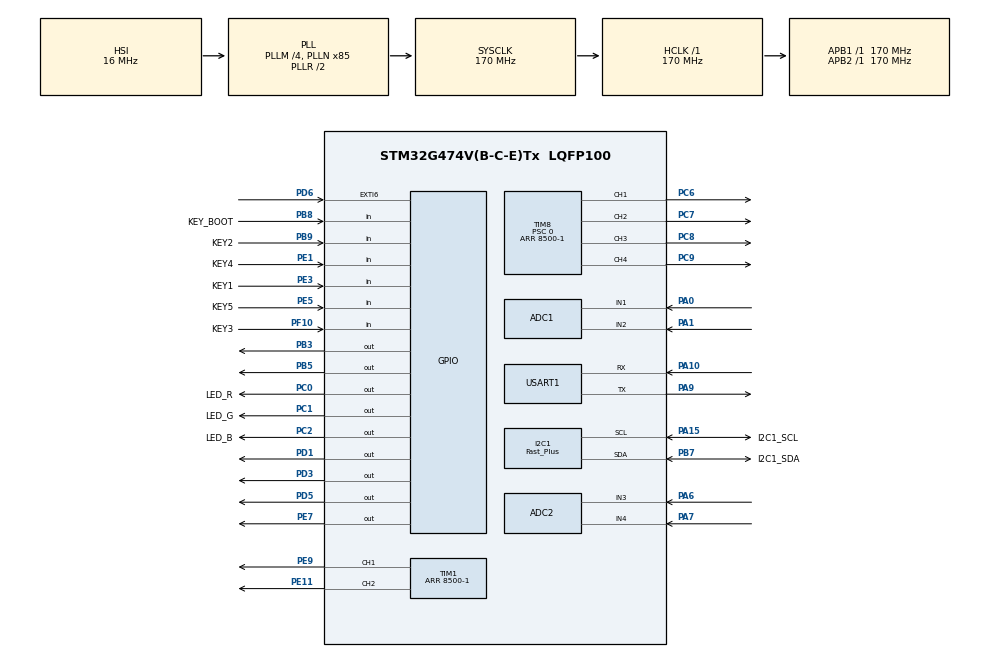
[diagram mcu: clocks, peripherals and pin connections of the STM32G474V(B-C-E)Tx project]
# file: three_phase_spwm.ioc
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ADC1.Channel-4\#ChannelRegularConversion=ADC_CHANNEL_1
ADC1.Channel-6\#ChannelRegularConversion=ADC_CHANNEL_2
ADC1.DMAContinuousRequests=ENABLE
ADC1.EnableRegularConversion=ENABLE
ADC1.ExternalTrigConv=ADC_EXTERNALTRIG_T8_TRGO
ADC1.NbrOfConversion=2
ADC1.NbrOfConversionFlag=1
ADC1.OffsetNumber-4\#ChannelRegularConversion=ADC_OFFSET_NONE
ADC1.OffsetNumber-6\#ChannelRegularConversion=ADC_OFFSET_NONE
ADC1.Rank-4\#ChannelRegularConversion=1
ADC1.Rank-6\#ChannelRegularConversion=2
ADC1.SamplingTime-4\#ChannelRegularConversion=ADC_SAMPLETIME_12CYCLES_5
ADC1.SamplingTime-6\#ChannelRegularConversion=ADC_SAMPLETIME_12CYCLES_5
ADC1.master=1
ADC2.Channel-0\#ChannelRegularConversion=ADC_CHANNEL_3
ADC2.Channel-1\#ChannelRegularConversion=ADC_CHANNEL_4
ADC2.ContinuousConvMode=DISABLE
ADC2.DMAContinuousRequests=ENABLE
ADC2.ExternalTrigConv=ADC_EXTERNALTRIG_T8_TRGO
ADC2.NbrOfConversion=2
ADC2.NbrOfConversionFlag=1
ADC2.OffsetNumber-0\#ChannelRegularConversion=ADC_OFFSET_NONE
ADC2.OffsetNumber-1\#ChannelRegularConversion=ADC_OFFSET_NONE
ADC2.Rank-0\#ChannelRegularConversion=1
ADC2.Rank-1\#ChannelRegularConversion=2
ADC2.SamplingTime-0\#ChannelRegularConversion=ADC_SAMPLETIME_12CYCLES_5
ADC2.SamplingTime-1\#ChannelRegularConversion=ADC_SAMPLETIME_12CYCLES_5
Dma.ADC1.1.Direction=DMA_PERIPH_TO_MEMORY
Dma.ADC1.1.EventEnable=DISABLE
Dma.ADC1.1.Instance=DMA1_Channel1
Dma.ADC1.1.MemDataAlignment=DMA_MDATAALIGN_HALFWORD
Dma.ADC1.1.MemInc=DMA_MINC_ENABLE
Dma.ADC1.1.Mode=DMA_CIRCULAR
Dma.ADC1.1.PeriphDataAlignment=DMA_PDATAALIGN_HALFWORD
Dma.ADC1.1.PeriphInc=DMA_PINC_DISABLE
Dma.ADC1.1.Polarity=HAL_DMAMUX_REQ_GEN_RISING
Dma.ADC1.1.Priority=DMA_PRIORITY_LOW
Dma.ADC1.1.RequestNumber=1
Dma.ADC1.1.SignalID=NONE
Dma.ADC1.1.SyncEnable=DISABLE
Dma.ADC1.1.SyncPolarity=HAL_DMAMUX_SYNC_NO_EVENT
Dma.ADC1.1.SyncRequestNumber=1
Dma.ADC1.1.SyncSignalID=NONE
Dma.ADC2.0.Direction=DMA_PERIPH_TO_MEMORY
Dma.ADC2.0.EventEnable=DISABLE
Dma.ADC2.0.Instance=DMA1_Channel2
Dma.ADC2.0.MemDataAlignment=DMA_MDATAALIGN_HALFWORD
Dma.ADC2.0.MemInc=DMA_MINC_ENABLE
Dma.ADC2.0.Mode=DMA_CIRCULAR
Dma.ADC2.0.PeriphDataAlignment=DMA_PDATAALIGN_HALFWORD
Dma.ADC2.0.PeriphInc=DMA_PINC_DISABLE
Dma.ADC2.0.Polarity=HAL_DMAMUX_REQ_GEN_RISING
Dma.ADC2.0.Priority=DMA_PRIORITY_LOW
Dma.ADC2.0.RequestNumber=1
Dma.ADC2.0.SignalID=NONE
Dma.ADC2.0.SyncEnable=DISABLE
Dma.ADC2.0.SyncPolarity=HAL_DMAMUX_SYNC_NO_EVENT
Dma.ADC2.0.SyncRequestNumber=1
Dma.ADC2.0.SyncSignalID=NONE
Dma.Request0=ADC2
Dma.Request1=ADC1
I2C1.I2C_Speed_Mode=I2C_Fast_Plus
I2C1.Timing=0x4052060F
Mcu.Family=STM32G4
Mcu.Name=STM32G474V(B-C-E)Tx
Mcu.Package=LQFP100
NVIC.DMA1_Channel1_IRQn=true\:0\:0\:false\:false\:true\:false\:true\:true
NVIC.DMA1_Channel2_IRQn=true\:0\:0\:false\:false\:true\:false\:true\:true
NVIC.PriorityGroup=NVIC_PRIORITYGROUP_4
PA0.Mode=IN1-Single-Ended
PA0.Signal=ADC1_IN1
PA1.Mode=IN2-Single-Ended
PA1.Signal=ADC1_IN2
PA10.Mode=Asynchronous
PA10.Signal=USART1_RX
PA13.Mode=Serial_Wire
PA13.Signal=SYS_JTMS-SWDIO
PA14.Mode=Serial_Wire
PA14.Signal=SYS_JTCK-SWCLK
PA15.GPIO_Label=I2C1_SCL
PA15.Mode=I2C
PA15.Signal=I2C1_SCL
PA2.Signal=ADC1_IN3
PA3.Signal=ADC1_IN4
PA6.Mode=IN3-Single-Ended
PA6.Signal=ADC2_IN3
PA7.Mode=IN4-Single-Ended
PA7.Signal=ADC2_IN4
PA9.Mode=Asynchronous
PA9.Signal=USART1_TX
PB1.Signal=ADC3_IN1
PB3.Signal=GPIO_Output
PB5.Signal=GPIO_Output
PB7.GPIO_Label=I2C1_SDA
PB7.Mode=I2C
PB7.Signal=I2C1_SDA
PB8-BOOT0.GPIO_Label=KEY_BOOT
PB8-BOOT0.GPIO_PuPd=GPIO_PULLDOWN
PB8-BOOT0.Signal=GPIO_Input
PB9.GPIO_Label=KEY2
PB9.GPIO_PuPd=GPIO_PULLUP
PB9.Signal=GPIO_Input
PC0.GPIO_Label=LED_R
PC0.Signal=GPIO_Output
PC1.GPIO_Label=LED_G
PC1.Signal=GPIO_Output
PC14-OSC32_IN.Mode=LSE-External-Oscillator
PC14-OSC32_IN.Signal=RCC_OSC32_IN
PC15-OSC32_OUT.Mode=LSE-External-Oscillator
PC15-OSC32_OUT.Signal=RCC_OSC32_OUT
PC2.GPIO_Label=LED_B
PC2.Signal=GPIO_Output
PC6.Signal=S_TIM8_CH1
PC7.Signal=S_TIM8_CH2
PC8.Signal=S_TIM8_CH3
PC9.Signal=S_TIM8_CH4
PD1.Signal=GPIO_Output
PD3.Signal=GPIO_Output
PD5.Signal=GPIO_Output
PD6.Signal=GPXTI6
PE1.GPIO_Label=KEY4
PE1.GPIO_PuPd=GPIO_PULLUP
PE1.Signal=GPIO_Input
PE11.Signal=S_TIM1_CH2
PE3.GPIO_Label=KEY1
PE3.GPIO_PuPd=GPIO_PULLUP
PE3.Signal=GPIO_Input
PE5.GPIO_Label=KEY5
PE5.GPIO_PuPd=GPIO_PULLUP
PE5.Signal=GPIO_Input
PE7.GPIO_ModeDefaultOutputPP=GPIO_MODE_OUTPUT_OD
PE7.GPIO_PuPd=GPIO_PULLUP
PE7.PinState=GPIO_PIN_SET
PE7.Signal=GPIO_Output
PE9.Signal=S_TIM1_CH1
PF0-OSC_IN.Mode=HSE-External-Oscillator
PF0-OSC_IN.Signal=RCC_OSC_IN
PF1-OSC_OUT.Mode=HSE-External-Oscillator
PF1-OSC_OUT.Signal=RCC_OSC_OUT
PF10.GPIO_Label=KEY3
PF10.GPIO_PuPd=GPIO_PULLUP
PF10.Signal=GPIO_Input
ProjectManager.HeapSize=0x200
ProjectManager.StackSize=0x400
ProjectManager.TargetToolchain=CMake
RCC.ADC12Freq_Value=170000000
RCC.ADC345Freq_Value=170000000
RCC.AHBFreq_Value=170000000
RCC.APB1Freq_Value=170000000
RCC.APB1TimFreq_Value=170000000
RCC.APB2Freq_Value=170000000
RCC.APB2TimFreq_Value=170000000
RCC.CortexFreq_Value=170000000
RCC.EXTERNAL_CLOCK_VALUE=12288000
RCC.HCLKFreq_Value=170000000
RCC.HSE_VALUE=8000000
RCC.HSI48_VALUE=48000000
RCC.HSI_VALUE=16000000
RCC.PLLM=RCC_PLLM_DIV4
RCC.PLLN=85
RCC.PLLQ=RCC_PLLQ_DIV4
RCC.SYSCLKFreq_VALUE=170000000
RCC.SYSCLKSource=RCC_SYSCLKSOURCE_PLLCLK
RCC.USBFreq_Value=85000000
RCC.VCOOutputFreq_Value=340000000
SH.S_TIM1_CH1.0=TIM1_CH1,PWM Generation1 CH1
SH.S_TIM1_CH2.0=TIM1_CH2,PWM Generation2 CH2
SH.S_TIM8_CH1.0=TIM8_CH1,PWM Generation1 CH1
SH.S_TIM8_CH2.0=TIM8_CH2,PWM Generation2 CH2
SH.S_TIM8_CH3.0=TIM8_CH3,PWM Generation3 CH3
SH.S_TIM8_CH4.0=TIM8_CH4,PWM Generation4 CH4
TIM1.AutoReloadPreload=TIM_AUTORELOAD_PRELOAD_DISABLE
TIM1.Channel-PWM\ Generation1\ CH1=TIM_CHANNEL_1
TIM1.Channel-PWM\ Generation2\ CH2=TIM_CHANNEL_2
TIM1.CounterMode=TIM_COUNTERMODE_CENTERALIGNED1
TIM1.PeriodNoDither=8500-1
TIM1.TIM_MasterSlaveMode=TIM_MASTERSLAVEMODE_ENABLE
TIM8.Channel-PWM\ Generation1\ CH1=TIM_CHANNEL_1
TIM8.Channel-PWM\ Generation2\ CH2=TIM_CHANNEL_2
TIM8.Channel-PWM\ Generation3\ CH3=TIM_CHANNEL_3
TIM8.Channel-PWM\ Generation4\ CH4=TIM_CHANNEL_4
TIM8.CounterMode=TIM_COUNTERMODE_CENTERALIGNED1
TIM8.PeriodNoDither=8500-1
TIM8.Prescaler=0
TIM8.RepetitionCounter=0
TIM8.TIM_MasterOutputTrigger=TIM_TRGO_UPDATE
TIM8.TIM_MasterOutputTrigger2=TIM_TRGO2_RESET
TIM8.TIM_MasterSlaveMode=TIM_MASTERSLAVEMODE_ENABLE
USART1.VirtualMode-Asynchronous=VM_ASYNC
VP_FMAC_VS_FMAC.Mode=FMAC_Activate
VP_SYS_VS_DBSignals.Mode=DisableDeadBatterySignals
VP_TIM1_VS_ClockSourceITR.Mode=TriggerSource_ITR8
VP_TIM1_VS_ControllerModeReset.Mode=Reset Mode
VP_TIM8_VS_ClockSourceINT.Mode=Internal
board=custom

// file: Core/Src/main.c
/* USER CODE BEGIN Header */
/**
  ******************************************************************************
  * @file           : main.c
  * @brief          : Main program body
  ******************************************************************************
  * @attention
  *
  * Copyright (c) 2025 STMicroelectronics.
  * All rights reserved.
  *
  * This software is licensed under terms that can be found in the LICENSE file
  * in the root directory of this software component.
  * If no LICENSE file comes with this software, it is provided AS-IS.
  *
  ******************************************************************************
  */
/* USER CODE END Header */
#include "main.h"
#include "adc.h"
#include "dma.h"
#include "fmac.h"
#include "i2c.h"
#include "tim.h"
#include "usart.h"
#include "gpio.h"

/* USER CODE BEGIN Includes */
#include "stdio.h"
#include "math.h"
#include "OLED.h"
#include <user_regulator.h>
/* USER CODE END Includes */

/* USER CODE BEGIN PD */
// 宏定义已移动到user_regulator模块
/* USER CODE END PD */

/* USER CODE BEGIN PV */
// ============================================================================
// ADC数据缓冲区 (供user_regulator模块使用)
// ============================================================================
uint16_t adc1_buf[2];                       // ADC1缓冲区: [IN1, IN2, IN3, IN4] (DMA长度=4)
uint16_t adc2_buf[2];                       // ADC2缓冲区: [IN3, IN4] (DMA长度=2)
/* USER CODE END PV */

void SystemClock_Config(void);
/* USER CODE BEGIN PFP */
// 所有应用层函数已移动到user_regulator模块
/* USER CODE END PFP */

int main(void)
{

  /* MCU Configuration--------------------------------------------------------*/

  /* Reset of all peripherals, Initializes the Flash interface and the Systick. */
  HAL_Init();

  /* Configure the system clock */
  SystemClock_Config();

  /* Initialize all configured peripherals */
  MX_GPIO_Init();
  MX_DMA_Init();
  MX_ADC1_Init();
  MX_ADC2_Init();
  MX_I2C1_Init();
  MX_TIM8_Init();
  MX_USART1_UART_Init();
  MX_FMAC_Init();
  MX_TIM1_Init();
  /* USER CODE BEGIN 2 */

  // 用户调节器模块初始化
  user_regulator_init();
  /* USER CODE END 2 */

  /* Infinite loop */
  /* USER CODE BEGIN WHILE */
  // ReSharper disable once CppDFAEndlessLoop
  while (1)
  {
    /* USER CODE END WHILE */

    /* USER CODE BEGIN 3 */
    // ======================================================================
    // 主循环 - 只调用用户调节器模块
    // ======================================================================
    user_regulator_main();
  }
  /* USER CODE END 3 */
}

void SystemClock_Config(void)
{
  RCC_OscInitTypeDef RCC_OscInitStruct = {0};
  RCC_ClkInitTypeDef RCC_ClkInitStruct = {0};

  /** Configure the main internal regulator output voltage
  */
  HAL_PWREx_ControlVoltageScaling(PWR_REGULATOR_VOLTAGE_SCALE1_BOOST);

  /** Initializes the RCC Oscillators according to the specified parameters
  * in the RCC_OscInitTypeDef structure.
  */
  RCC_OscInitStruct.OscillatorType = RCC_OSCILLATORTYPE_HSI;
  RCC_OscInitStruct.HSIState = RCC_HSI_ON;
  RCC_OscInitStruct.HSICalibrationValue = RCC_HSICALIBRATION_DEFAULT;
  RCC_OscInitStruct.PLL.PLLState = RCC_PLL_ON;
  RCC_OscInitStruct.PLL.PLLSource = RCC_PLLSOURCE_HSI;
  RCC_OscInitStruct.PLL.PLLM = RCC_PLLM_DIV4;
  RCC_OscInitStruct.PLL.PLLN = 85;
  RCC_OscInitStruct.PLL.PLLP = RCC_PLLP_DIV2;
  RCC_OscInitStruct.PLL.PLLQ = RCC_PLLQ_DIV4;
  RCC_OscInitStruct.PLL.PLLR = RCC_PLLR_DIV2;
  if (HAL_RCC_OscConfig(&RCC_OscInitStruct) != HAL_OK)
  {
    Error_Handler();
  }

  /** Initializes the CPU, AHB and APB buses clocks
  */
  RCC_ClkInitStruct.ClockType = RCC_CLOCKTYPE_HCLK|RCC_CLOCKTYPE_SYSCLK
                              |RCC_CLOCKTYPE_PCLK1|RCC_CLOCKTYPE_PCLK2;
  RCC_ClkInitStruct.SYSCLKSource = RCC_SYSCLKSOURCE_PLLCLK;
  RCC_ClkInitStruct.AHBCLKDivider = RCC_SYSCLK_DIV1;
  RCC_ClkInitStruct.APB1CLKDivider = RCC_HCLK_DIV1;
  RCC_ClkInitStruct.APB2CLKDivider = RCC_HCLK_DIV1;

  if (HAL_RCC_ClockConfig(&RCC_ClkInitStruct, FLASH_LATENCY_4) != HAL_OK)
  {
    Error_Handler();
  }
}

/* USER CODE BEGIN 4 */
/**
 * @brief TIM中断回调函数 - 已禁用TIM8中断，逻辑已迁移至ADC回调
 * @param htim: 定时器句柄
 * @note TIM8的PWM控制逻辑已整合到ADC回调中
 */
void HAL_TIM_PeriodElapsedCallback(TIM_HandleTypeDef *htim)
{

}

/**
 * @brief ADC转换完成回调函数
 * @param hadc: ADC句柄
 * @note 调用user_regulator模块的ADC回调函数
 */
void HAL_ADC_ConvCpltCallback(ADC_HandleTypeDef* hadc)
{
    user_regulator_adc_callback(hadc);
}
int __io_putchar(int ch)
{
  // 支持UTF-8字符输出
  HAL_UART_Transmit(&huart1, (uint8_t *)&ch, 1, HAL_MAX_DELAY);
  return ch;
}

int fputc(int ch, FILE *f)
{
  return __io_putchar(ch);
}

/* USER CODE END 4 */

void Error_Handler(void)
{
  __disable_irq();
  while (1)
  {
  }
}
